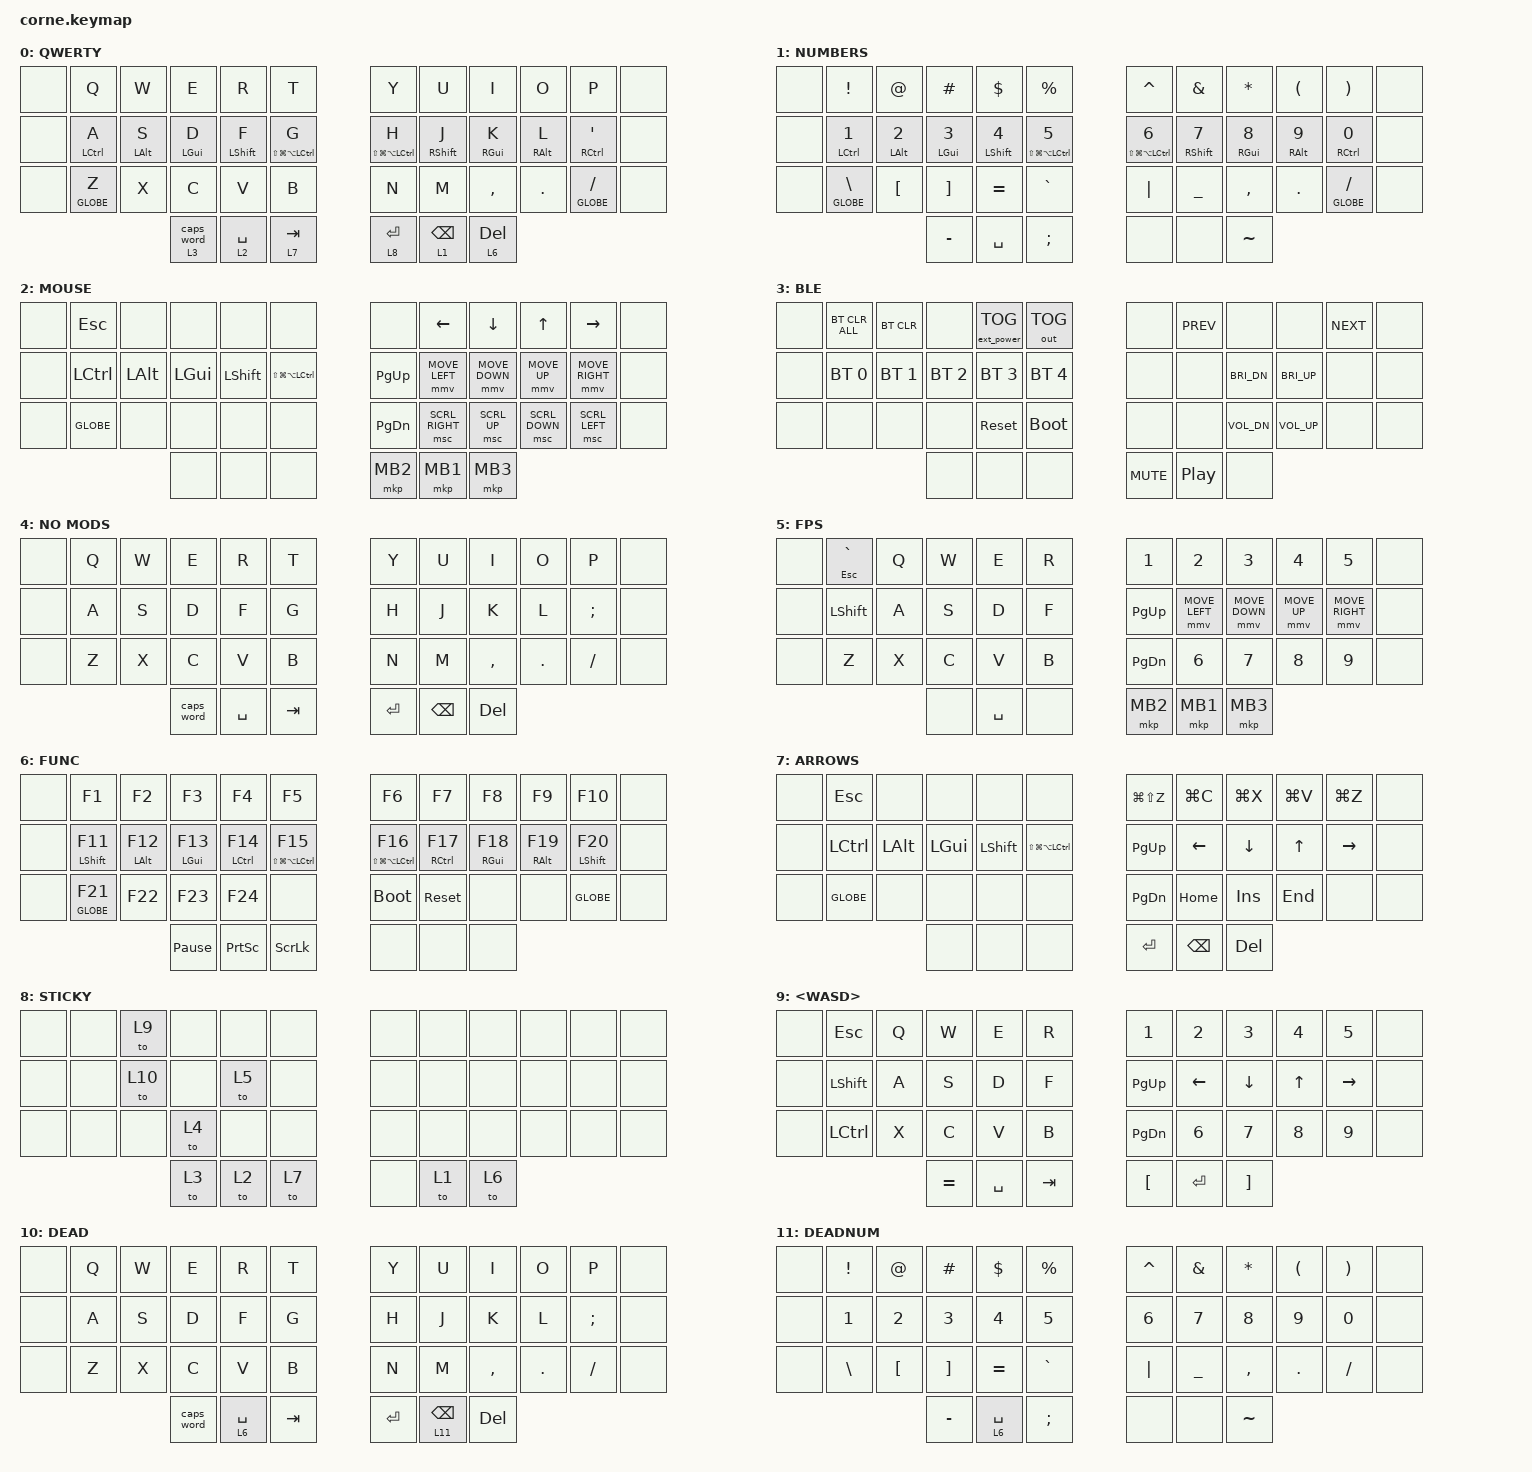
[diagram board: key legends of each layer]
//cd keyboard/zmk/app; sudo west build -p -d build/left -b nice_nano_v2 -- -DSHIELD="corne_left nice_view_adapter nice_view" -DZMK_CONFIG="/Users/ameer/keyboard/zmk-config/config"
//cd keyboard/zmk/app; sudo west build -p -d build/right -b nice_nano_v2 -- -DSHIELD="corne_right nice_view_adapter nice_view" -DZMK_CONFIG="/Users/ameer/keyboard/zmk-config/config"
//Last we left it, trying to optimize scrolling behaviors, not very smooth idk why, Still need keymap updates, mouse on spacebar is a maybe.
//Update: scroll behaviors have been fixed, just keymap to be done

#include <behaviors.dtsi>
#include <dt-bindings/zmk/keys.h>
#include <dt-bindings/zmk/bt.h>
#include <dt-bindings/zmk/pointing.h>
#include <dt-bindings/zmk/bt.h>
#include <dt-bindings/zmk/ext_power.h>
#include <dt-bindings/zmk/outputs.h>

#define ZMK_POINTING_DEFAULT_MOVE_VAL 2500  // default: 600
#define ZMK_POINTING_DEFAULT_SCRL_VAL 15    // default: 10

&caps_word {
    continue-list = <UNDERSCORE MINUS BSPC DOT COMMA>;
};
/ {
    combos {
        compatible = "zmk,combos";
        combo_out {
            timeout-ms = <50>;
            key-positions = <36 41>;
            bindings = <&to 0>;
        };
        compatible = "zmk,combos";
        combo_escape {
            timeout-ms = <50>;
            key-positions = <1 10>;
            bindings = <&kp ESC>;
        };
    };
behaviors {    
            hrl: homerow_mods_left {
            compatible = "zmk,behavior-hold-tap";
            #binding-cells = <2>;
            flavor = "balanced";
            tapping-term-ms = <300>;
            bindings = <&kp>, <&kp>;
            //hold-trigger-key-positions = <6 7 8 9 10 18 19 20 21 22 30 31 32 33 34 39 40 41>;
        };
        hrr: homerow_mods_right {
            compatible = "zmk,behavior-hold-tap";
            #binding-cells = <2>;
            flavor = "balanced";
            tapping-term-ms = <300>;
            bindings = <&kp>, <&kp>;
            //hold-trigger-key-positions = <1 2 3 4 5 13 14 15 16 17 25 26 27 28 29 38 37 36>;
        }; 
         mocapsword: mo_caps_word {
            compatible = "zmk,behavior-hold-tap";
            #binding-cells = <2>;
            flavor = "hold-preferred"; 
            tapping-term-ms = <150>;
            bindings = <&mo>, <&caps_word>;
        };
         mokphp: mokphp {
            compatible = "zmk,behavior-hold-tap";
            #binding-cells = <2>;
            flavor = "hold-preferred"; 
            tapping-term-ms = <150>;
            bindings = <&mo>, <&kp>;
        };  
         mokptp: mokptp {
            compatible = "zmk,behavior-hold-tap";
            #binding-cells = <2>;
            flavor = "tap-preferred";
            tapping-term-ms = <150>;
            bindings = <&mo>, <&kp>;
        };  
         mokpb: mokpb {
            compatible = "zmk,behavior-hold-tap";
            #binding-cells = <2>;
            flavor = "balanced";
            tapping-term-ms = <200>;
            bindings = <&mo>, <&kp>;
         };
    };
    keymap {
        compatible = "zmk,keymap";
        0 {
            display-name = "QWERTY"; // 8 character max
bindings = <
&none &kp Q &kp W &kp E &kp R &kp T                                                &kp Y &kp U &kp I &kp O &kp P &none 
&none &hrl LCTRL A &hrl LALT S &hrl LGUI D &hrl LSHIFT F &hrl LS(LG(LA(LCTRL))) G       &hrr LS(LG(LA(LCTRL))) H &hrr RSHIFT J &hrr RGUI K &hrr RALT L &hrr RCTRL APOS &none 
&none &hrl GLOBE Z &kp X &kp C &kp V &kp B                                          &kp N &kp M &kp COMMA &kp DOT &hrr GLOBE SLASH &none
&mocapsword 3 0 &mokpb 2 SPACE &mokphp 7 TAB                                         &mokptp 8 RETURN &mokphp 1 BSPC &mokptp 6 DEL
              >;
        };
        1 {
            display-name = "NUMBERS";
bindings = <
&none &kp EXCLAMATION &kp AT &kp HASH &kp DOLLAR &kp PERCENT                                                                   &kp CARET &kp AMPS &kp STAR &kp LPAR &kp RPAR &none 
&none &hrl LCTRL N1 &hrl LALT N2 &hrl LGUI N3 &hrl LSHIFT N4 &hrl LS(LG(LA(LCTRL))) N5           &hrr LS(LG(LA(LCTRL))) N6 &hrr RSHIFT N7 &hrr RGUI N8 &hrr RALT N9 &hrr RCTRL N0 &none 
&none &hrl GLOBE BSLH &kp LBKT &kp RBKT &kp EQUAL &kp GRAVE                                                               &kp PIPE &kp UNDER &kp COMMA  &kp DOT  &hrr GLOBE SLASH  &none
&kp MINUS &kp SPACE &kp SEMI                                                                                               &none &none &kp TILDE
              >;
        };  
        2 {
            display-name = "MOUSE";
bindings = <
&none &kp ESC &none &none &none &none                                &none &kp LEFT &kp DOWN &kp UP &kp RIGHT &none 
&none &kp LCTRL &kp LALT &kp LGUI &kp LSHIFT &kp LS(LG(LA(LCTRL))) &kp PG_UP &mmv MOVE_LEFT &mmv MOVE_DOWN &mmv MOVE_UP &mmv MOVE_RIGHT &none
&none &kp GLOBE &none &none &none &none                                  &kp PG_DN &msc SCRL_RIGHT &msc SCRL_UP &msc SCRL_DOWN &msc SCRL_LEFT &none 
&none &none &none                                                         &mkp MB2 &mkp MB1 &mkp MB3
              >;
        };
        3 {
            display-name = "BLE";
bindings = <
&none &bt BT_CLR_ALL &bt BT_CLR &none &ext_power EP_TOG &out OUT_TOG                               &none &kp C_PREV &none &none &kp C_NEXT &none 
&none &bt BT_SEL 0 &bt BT_SEL 1 &bt BT_SEL 2 &bt BT_SEL 3 &bt BT_SEL 4                             &none &none &kp C_BRI_DN &kp C_BRI_UP &none &none 
&none &none &none &none &sys_reset &bootloader                                                     &none &none &kp C_VOL_DN &kp C_VOL_UP &none &none 
&none &none &none                                                                                  &kp C_MUTE &kp C_PP &none   
              >;
        };
        4 {
            display-name = "NO MODS"; // 8 character max
bindings = <
&none &kp Q &kp W &kp E &kp R &kp T               &kp Y &kp U &kp I &kp O &kp P &none 
&none &kp A &kp S &kp D &kp F &kp G               &kp H &kp J &kp K &kp L &kp SEMI &none 
&none &kp Z &kp X &kp C &kp V &kp B               &kp N &kp M &kp COMMA &kp DOT &kp SLASH &none 
&caps_word &kp SPACE &kp TAB                           &kp RETURN &kp BSPC &kp DEL
              >;
        };
        5 {
            display-name = "FPS";
bindings = < 
&none &mt ESC GRAVE &kp Q &kp W &kp E &kp R                              &kp N1 &kp N2 &kp N3 &kp N4 &kp N5 &none 
&none &kp LSHIFT &kp A &kp S &kp D &kp F                         &kp PG_UP &mmv MOVE_LEFT &mmv MOVE_DOWN &mmv MOVE_UP &mmv MOVE_RIGHT &none
&none &kp Z &kp X &kp C &kp V &kp B                               &kp PG_DN &kp N6 &kp N7 &kp N8 &kp N9 &none 
&none &kp SPACE &none                                          &mkp MB2 &mkp MB1 &mkp MB3
              >;  
        };
        6 {
            display-name = "FUNC";
bindings = <
&none &kp F1 &kp F2 &kp F3 &kp F4 &kp F5                          &kp F6 &kp F7 &kp F8 &kp F9 &kp F10 &none 
&none &hrl LSHIFT F11 &hrl LALT F12 &hrl LGUI F13 &hrl LCTRL F14 &hrl LS(LG(LA(LCTRL))) F15 &hrr LS(LG(LA(LCTRL))) F16 &hrr RCTRL F17 &hrr RGUI F18 &hrr RALT F19 &hrr LSHIFT F20 &none 
&none &hrl GLOBE F21 &kp F22 &kp F23 &kp F24 &none                &bootloader &sys_reset &none &none &kp GLOBE &none 
      &kp PAUSE_BREAK &kp PSCRN &kp SCROLLLOCK                                          &none &none &none
              >;
            };
        7 {
            display-name = "ARROWS";
bindings = <
&none &kp ESC &none &none &none &none                             &kp LG(LS(Z)) &kp LG(C) &kp LG(X) &kp LG(V) &kp LG(Z) &none 
&none &kp LCTRL &kp LALT &kp LGUI &kp LSHIFT &kp LS(LG(LA(LCTRL)))  &kp PG_UP &kp LEFT &kp DOWN &kp UP &kp RIGHT &none 
&none &kp GLOBE &none &none &none &none               &kp PG_DN &kp HOME &kp INS &kp END &none &none 
      &none &none &none                                          &kp RETURN &kp BSPC &kp DEL
              >;
            };
        8 {
            display-name = "STICKY";
bindings = <
&none &none &to 9 &none &none &none                             &none &none &none &none &none &none
&none &none &to 10 &none &to 5 &none                             &none &none &none &none &none &none
&none &none &none &to 4 &none &none                             &none &none &none &none &none &none
&to 3 &to 2 &to 7                                               &none &to 1 &to 6
              >;
            };    
        9 {
            display-name = "<WASD>";
bindings = <
&none &kp ESC &kp Q &kp W &kp E &kp R                             &kp N1 &kp N2 &kp N3 &kp N4 &kp N5 &none 
&none &kp LSHIFT &kp A &kp S &kp D &kp F                        &kp PG_UP &kp LEFT &kp DOWN &kp UP &kp RIGHT &none
&none &kp LCTRL &kp X &kp C &kp V &kp B                          &kp PG_DN &kp N6 &kp N7 &kp N8 &kp N9 &none 
&kp EQUAL &kp SPACE &kp TAB                                          &kp LBKT &kp ENTER &kp RBKT
              >;  
            };
        10 {
            display-name = "DEAD"; // 8 character max
bindings = <
&none &kp Q &kp W &kp E &kp R &kp T               &kp Y &kp U &kp I &kp O &kp P &none 
&none &kp A &kp S &kp D &kp F &kp G               &kp H &kp J &kp K &kp L &kp SEMI &none 
&none &kp Z &kp X &kp C &kp V &kp B               &kp N &kp M &kp COMMA &kp DOT &kp SLASH &none 
&caps_word &mokphp 6 SPACE &kp TAB                           &kp RETURN &mokphp 11 BSPC &kp DEL
              >;
        };
        11 {
            display-name = "DEADNUM";
bindings = <
&none &kp EXCLAMATION &kp AT &kp HASH &kp DOLLAR &kp PERCENT                                    &kp CARET &kp AMPS &kp STAR &kp LPAR &kp RPAR &none 
&none &kp N1 &kp N2 &kp N3 &kp N4 &kp N5                                                         &kp N6 &kp N7 &kp N8 &kp N9 &kp N0 &none 
&none &kp BSLH &kp LBKT &kp RBKT &kp EQUAL &kp GRAVE                                        &kp PIPE &kp UNDER &kp COMMA  &kp DOT  &kp SLASH  &none
&kp MINUS &mokphp 6 SPACE &kp SEMI                                                                                               &none &none &kp TILDE
              >;
        }; 
    };
};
